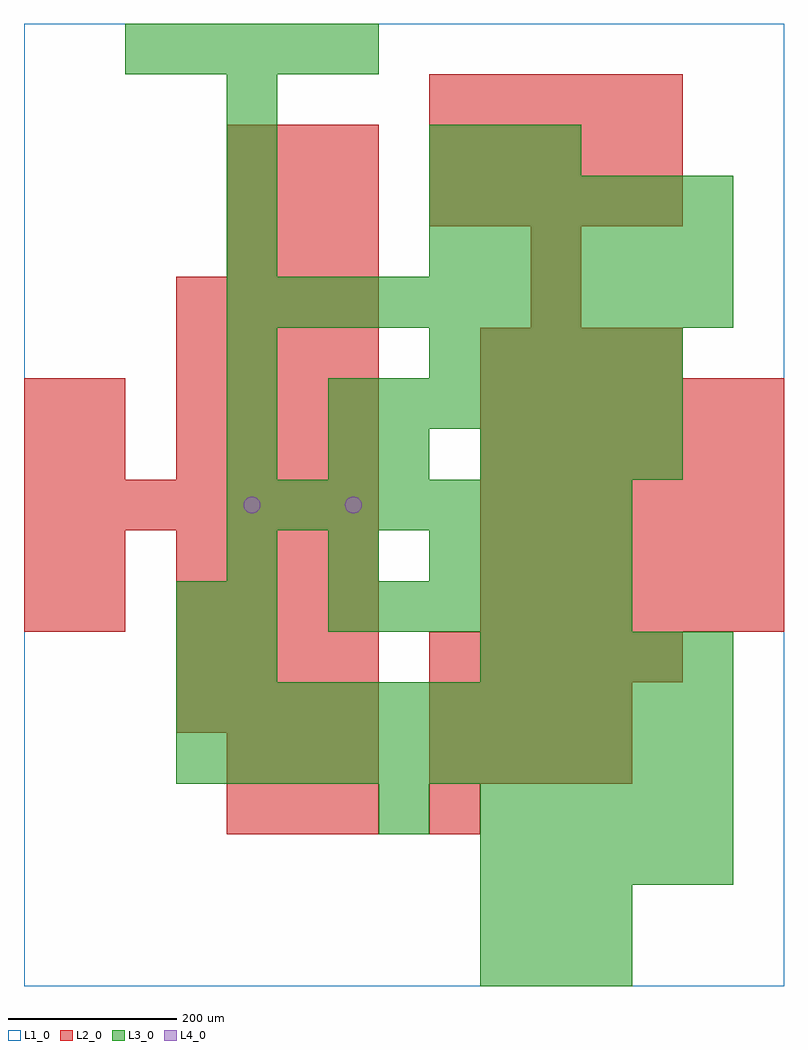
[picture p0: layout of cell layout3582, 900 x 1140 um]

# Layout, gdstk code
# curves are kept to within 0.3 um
import gdstk
lib = gdstk.Library(unit=1e-6, precision=1e-09)
def R(c, l, rs):  # rectangles x0, y0, x1, y1
    for r in rs: c.add(gdstk.rectangle(r[:2], r[2:], *l))
def A(c, l, x, y, w, h, nx, ny, dx, dy):  # array of equal rectangles
    R(c, l, [(x+i*dx, y+j*dy, x+i*dx+w, y+j*dy+h) for i in range(nx) for j in range(ny)])
def P(c, l, *ps):  # polygons
    for p in ps: c.add(gdstk.Polygon(p, *l))
L1_0 = (1, 0)
L2_0 = (2, 0)
L3_0 = (3, 0)
L4_0 = (4, 0)

layout3582 = lib.new_cell('layout3582')
R(layout3582, L1_0, [(0,0,900,1140)])
A(layout3582, L2_0, 240, 180, 60, 60, 3, 2, 60, 60)
A(layout3582, L2_0, 480, 240, 60, 60, 4, 2, 60, 60)
A(layout3582, L2_0, 180, 300, 60, 60, 4, 4, 60, 60)
A(layout3582, L2_0, 480, 360, 60, 60, 5, 2, 60, 540)
A(layout3582, L2_0, 540, 420, 60, 60, 6, 5, 60, 60)
A(layout3582, L2_0, 0, 540, 60, 60, 7, 1, 60, 0)
A(layout3582, L2_0, 180, 600, 60, 60, 4, 4, 60, 60)
A(layout3582, L2_0, 540, 720, 60, 60, 4, 1, 60, 0)
A(layout3582, L2_0, 240, 840, 60, 60, 3, 3, 60, 60)
A(layout3582, L2_0, 480, 960, 60, 60, 5, 2, 60, 60)
R(layout3582, L2_0, [(480,180,540,240), (0,420,60,480), (60,420,120,480), (0,480,60,540), (60,480,120,540), (0,600,60,660), (60,600,120,660), (0,660,60,720), (60,660,120,720), (600,780,660,840), (600,840,660,900)])
A(layout3582, L3_0, 540, 0, 60, 60, 3, 2, 60, 60)
A(layout3582, L3_0, 540, 120, 60, 60, 5, 2, 60, 60)
A(layout3582, L3_0, 180, 240, 60, 60, 11, 2, 60, 60)
A(layout3582, L3_0, 540, 360, 60, 60, 5, 1, 60, 0)
A(layout3582, L3_0, 360, 420, 60, 60, 6, 1, 60, 0)
A(layout3582, L3_0, 240, 480, 60, 60, 3, 1, 120, 0)
A(layout3582, L3_0, 540, 480, 60, 60, 3, 1, 60, 0)
A(layout3582, L3_0, 240, 540, 60, 60, 8, 1, 60, 0)
A(layout3582, L3_0, 240, 600, 60, 60, 1, 3, 0, 60)
A(layout3582, L3_0, 540, 600, 60, 60, 4, 1, 60, 0)
A(layout3582, L3_0, 360, 660, 60, 60, 7, 1, 60, 0)
A(layout3582, L3_0, 480, 720, 60, 60, 5, 1, 60, 0)
A(layout3582, L3_0, 240, 780, 60, 60, 10, 1, 60, 0)
A(layout3582, L3_0, 240, 840, 60, 60, 1, 4, 0, 60)
A(layout3582, L3_0, 480, 840, 60, 60, 6, 2, 60, 60)
A(layout3582, L3_0, 480, 960, 60, 60, 3, 1, 60, 0)
A(layout3582, L3_0, 120, 1080, 60, 60, 5, 1, 60, 0)
R(layout3582, L3_0, [(420,180,480,240), (180,360,240,420), (240,360,300,420), (180,420,240,480), (240,420,300,480), (360,600,420,660), (420,600,480,660)])
P(layout3582, L4_0, [(280,570),(279.239,573.827),(277.071,577.071),(273.827,579.239),(270,580),(266.173,579.239),(262.929,577.071),(260.761,573.827),(260,570),(260.761,566.173),(262.929,562.929),(266.173,560.761),(270,560),(273.827,560.761),(277.071,562.929),(279.239,566.173)],
  [(400,570),(399.239,573.827),(397.071,577.071),(393.827,579.239),(390,580),(386.173,579.239),(382.929,577.071),(380.761,573.827),(380,570),(380.761,566.173),(382.929,562.929),(386.173,560.761),(390,560),(393.827,560.761),(397.071,562.929),(399.239,566.173)])

lib.write_gds('layout3582.gds')
